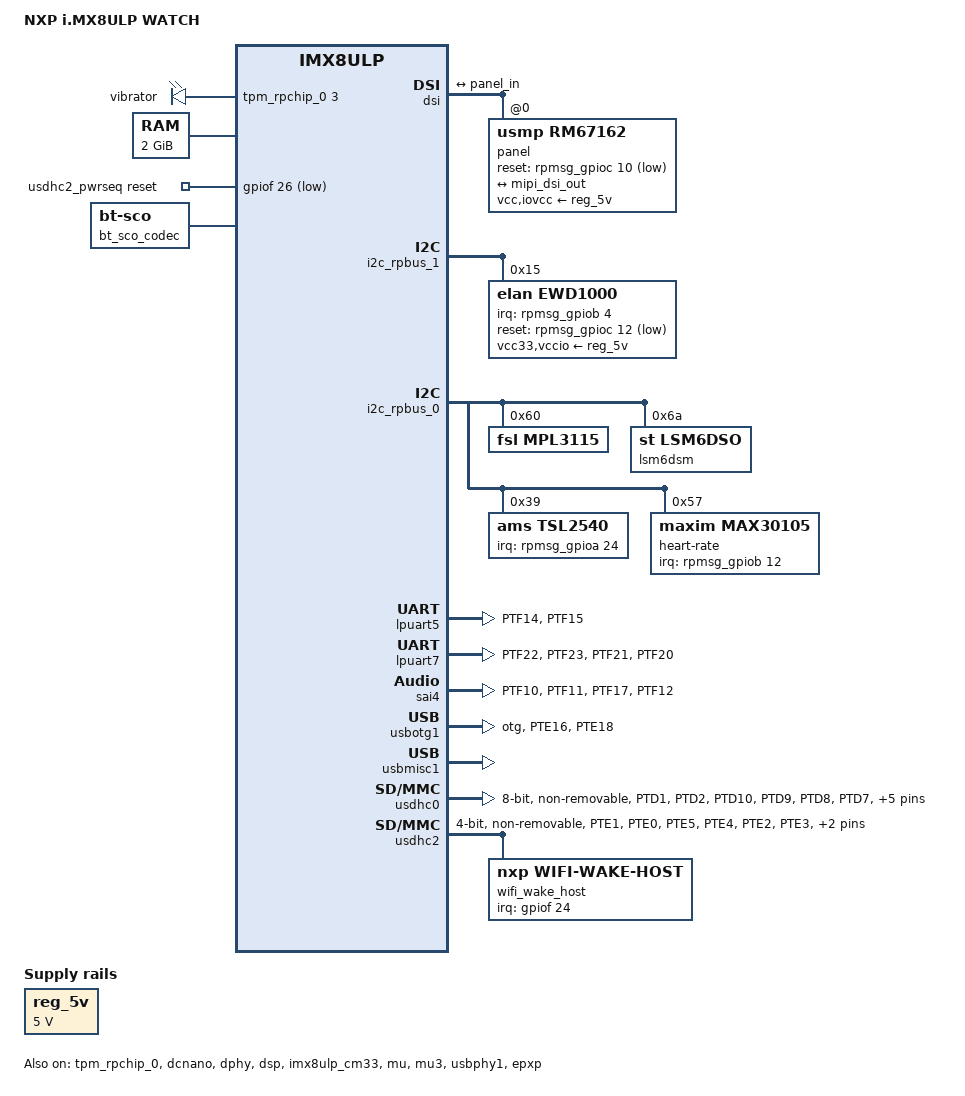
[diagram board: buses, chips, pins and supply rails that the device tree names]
// SPDX-License-Identifier: (GPL-2.0+ OR MIT)
/*
 * Copyright 2021 NXP
 */

/dts-v1/;

#include "imx8ulp.dtsi"
#include "imx8ulp-rpmsg.dtsi"
#include <dt-bindings/input/input.h>

/ {
	model = "NXP i.MX8ULP WATCH";
	compatible = "fsl,imx8ulp-watch", "fsl,imx8ulp";

	chosen {
		stdout-path = &lpuart5;
	};

	vibrator-controller {
		compatible = "pwm-leds";
		vibrator {
			/* vibrator */
			label = "vibrator";
			pwms = <&tpm_rpchip_0 3 50000 0>;
			max-brightness = <255>;
		};
	};

	memory@40000000 {
		device_type = "memory";
		reg = <0x0 0x80000000 0 0x80000000>;
	};

	rpmsg_keys: rpmsg-keys {
		compatible = "fsl,rpmsg-keys";

		volume-up {
			label = "VolumeUp";
			linux,code = <KEY_VOLUMEUP>;
			rpmsg-key,wakeup;
		};

		volume-down {
			label = "VolumeDown";
			linux,code = <KEY_VOLUMEDOWN>;
			rpmsg-key,wakeup;
		};

		power-on {
			label = "PowerOn";
			linux,code = <KEY_POWER>;
			rpmsg-key,wakeup;
		};
	};

	resmem:reserved-memory {
		#address-cells = <2>;
		#size-cells = <2>;
		ranges;

		linux,cma {
			compatible = "shared-dma-pool";
			reusable;
			size = <0 0x28000000>;
			linux,cma-default;
		};

		rsc_table: rsc_table@1fff8000{
			reg = <0 0x1fff8000 0 0x1000>;
			no-map;
		};

		dsp_reserved: dsp_reserved@8e000000 {
			reg = <0 0x8e000000 0 0x1000000>;
			no-map;
		};
		dsp_reserved_heap: dsp_reserved_heap {
			reg = <0 0x8f000000 0 0xef0000>;
			no-map;
		};
		dsp_vdev0vring0: vdev0vring0@8fef0000 {
			reg = <0 0x8fef0000 0 0x8000>;
			no-map;
		};
		dsp_vdev0vring1: vdev0vring1@8fef8000 {
			reg = <0 0x8fef8000 0 0x8000>;
			no-map;
		};
		dsp_vdev0buffer: vdev0buffer@8ff00000 {
			compatible = "shared-dma-pool";
			reg = <0 0x8ff00000 0 0x100000>;
			no-map;
		};

		vdev0vring0: vdev0vring0@aff00000 {
			reg = <0 0xaff00000 0 0x8000>;
			no-map;
		};

		vdev0vring1: vdev0vring1@aff08000 {
			reg = <0 0xaff08000 0 0x8000>;
			no-map;
		};

		vdev1vring0: vdev1vring0@aff10000 {
			reg = <0 0xaff10000 0 0x8000>;
			no-map;
		};

		vdev1vring1: vdev1vring1@aff18000 {
			reg = <0 0xaff18000 0 0x8000>;
			no-map;
		};

		vdevbuffer: vdevbuffer@a8400000 {
			compatible = "shared-dma-pool";
			reg = <0 0xa8400000 0 0x100000>;
			no-map;
		};

		audio_reserved: audio@0xa8500000 {
			compatible = "shared-dma-pool";
			no-map;
			reg = <0 0xa8500000 0 0x100000>;
		};

		m33_reserved: m33_noncacheable_section@a8600000 {
			no-map;
			reg = <0 0xa8600000 0 0x1000000>;
		};
	};

	reg_5v: regulator-5v {
		compatible = "regulator-fixed";
		regulator-name = "5V";
		regulator-min-microvolt = <5000000>;
		regulator-max-microvolt = <5000000>;
		regulator-always-on;
	};

	usdhc2_pwrseq: usdhc2_pwrseq {
		compatible = "mmc-pwrseq-simple";
		reset-gpios = <&gpiof 26 GPIO_ACTIVE_LOW>;
	};

	bt_sco_codec: bt_sco_codec {
		#sound-dai-cells = <1>;
		compatible = "linux,bt-sco";
	};

	sound-bt-sco {
		compatible = "simple-audio-card";
		simple-audio-card,name = "bt-sco-audio";
		simple-audio-card,format = "dsp_a";
		simple-audio-card,bitclock-inversion;
		simple-audio-card,frame-master = <&btcpu>;
		simple-audio-card,bitclock-master = <&btcpu>;

		btcpu: simple-audio-card,cpu {
			sound-dai = <&sai4>;
			dai-tdm-slot-num = <2>;
			dai-tdm-slot-width = <16>;
		};

		simple-audio-card,codec {
			sound-dai = <&bt_sco_codec 1>;
		};
	};

	rpmsg_gpioc: gpio@2 {
		compatible = "fsl,imx-rpmsg-gpio";
		port_idx = <2>;
		gpio-controller;
		#gpio-cells = <2>;
		#interrupt-cells = <2>;
		interrupt-controller;
		interrupt-parent = <&rpmsg_gpioc>;
		status = "okay";
	};
};

&tpm_rpchip_0 {
	status = "okay";
};

&clock_ext_ts {
	/* External ts clock is 50MHZ from PHY on EVK board. */
	clock-frequency = <50000000>;
};

&dcnano {
	status = "okay";
};

&dphy {
	status = "okay";
};

&dsi {
	status = "okay";
	panel@0 {
		compatible = "usmp,rm67162";
		reg = <0>;
		dsi-lanes = <1>;
		video-mode = <1>;
		reset-gpios = <&rpmsg_gpioc 10 GPIO_ACTIVE_LOW>;
		vcc-supply = <&reg_5v>;
		iovcc-supply = <&reg_5v>;

		port {
			panel_in: endpoint {
				remote-endpoint = <&mipi_dsi_out>;
			};
		};
	};

	ports {
		port@1 {
			reg = <1>;

			mipi_dsi_out: endpoint {
				remote-endpoint = <&panel_in>;
			};
		};
	};
};

&i2c_rpbus_1 {
	#address-cells = <1>;
	#size-cells = <0>;
	status = "okay";
	elan@15 {
		compatible = "elan,ewd1000";
		reg = <0x15>;
		interrupt-parent = <&rpmsg_gpiob>;
		interrupts = <4 IRQ_TYPE_EDGE_FALLING>;
		irq-gpios = <&rpmsg_gpiob 4 GPIO_ACTIVE_HIGH>;
		reset-gpios = <&rpmsg_gpioc 12 GPIO_ACTIVE_LOW>;
		vcc33-supply = <&reg_5v>;
		vccio-supply = <&reg_5v>;
		elan,non-buffer-mode;
		elan,num-fingers = <2>;
	};
};

&dsp {
	assigned-clocks = <&cgc2 IMX8ULP_CLK_HIFI_SEL>;
	assigned-clock-parents = <&cgc2 IMX8ULP_CLK_PLL4>;
	memory-region = <&dsp_vdev0buffer>, <&dsp_vdev0vring0>,
			<&dsp_vdev0vring1>, <&dsp_reserved>;
	status = "okay";
};

&i2c_rpbus_0 {
	#address-cells = <1>;
	#size-cells = <0>;
	status = "okay";

	mpl3115@60 {
		compatible = "fsl,mpl3115";
		reg = <0x60>;
	};

	lsm6dsm@6a {
		compatible = "st,lsm6dso";
		reg = <0x6a>;
	};

	tsl2540@39 {
		compatible = "ams,tsl2540";
		reg = <0x39>;
		interrupt-parent = <&rpmsg_gpioa>;
		interrupts = <24 IRQ_TYPE_EDGE_FALLING>;
	};

	heart-rate@57 {
		compatible = "maxim,max30105";// max30101 is almost the same as max30105
		reg = <0x57>;
		maxim,red-led-current-microamp = <7000>;
		maxim,green-led-current-microamp = <7000>;
		maxim,ir-led-current-microamp = <7000>;
		interrupt-parent = <&rpmsg_gpiob>;
		interrupts = <12 IRQ_TYPE_EDGE_FALLING>;
	};
};

&imx8ulp_cm33 {
	ipc-only;
	rsc-da=<0x1fff8000>;
	mbox-names = "tx", "rx", "rxdb";
	mboxes = <&mu 0 1
			&mu 1 1
			&mu 3 1>;
	memory-region = <&vdevbuffer>, <&vdev0vring0>, <&vdev0vring1>,
			<&vdev1vring0>, <&vdev1vring1>, <&rsc_table>;
	status = "okay";
};

&lpuart5 {
	/* console */
	pinctrl-names = "default", "sleep";
	pinctrl-0 = <&pinctrl_lpuart5>;
	pinctrl-1 = <&pinctrl_lpuart5>;
	status = "okay";
};

&lpuart7 {
	/* BT */
	pinctrl-names = "default", "sleep";
	pinctrl-0 = <&pinctrl_lpuart7>;
	pinctrl-1 = <&pinctrl_lpuart7>;
	status = "okay";
};

&mu {
	status = "okay";
};

&mu3 {
	status = "okay";
};

&sai4 {
	#sound-dai-cells = <0>;
	pinctrl-names = "default", "sleep";
	pinctrl-0 = <&pinctrl_sai4>;
	pinctrl-1 = <&pinctrl_sai4>;
	assigned-clocks = <&cgc1 IMX8ULP_CLK_SAI4_SEL>;
	assigned-clock-parents = <&cgc1 IMX8ULP_CLK_SPLL3_PFD1_DIV1>;
	fsl,dataline = <0 0x08 0x01>;
	status = "okay";
};

&usbotg1 {
	pinctrl-names = "default", "sleep";
	pinctrl-0 = <&pinctrl_otgid1>;
	pinctrl-1 = <&pinctrl_otgid1>;
	dr_mode = "otg";
	hnp-disable;
	srp-disable;
	adp-disable;
	over-current-active-low;
	status = "okay";
};

&usbphy1 {
	status = "okay";
};

&usbmisc1 {
	status = "okay";
};

&usdhc0 {
	pinctrl-names = "default", "state_100mhz", "state_200mhz", "sleep";
	pinctrl-0 = <&pinctrl_usdhc0>;
	pinctrl-1 = <&pinctrl_usdhc0>;
	pinctrl-2 = <&pinctrl_usdhc0>;
	pinctrl-3 = <&pinctrl_usdhc0>;
	non-removable;
	bus-width = <8>;
	status = "okay";
};

&usdhc2 {
	pinctrl-names = "default", "state_100mhz", "state_200mhz", "sleep";
	pinctrl-0 = <&pinctrl_usdhc2_pte>, <&pinctrl_usdhc2_ptf>;
	pinctrl-1 = <&pinctrl_usdhc2_pte>, <&pinctrl_usdhc2_ptf>;
	pinctrl-2 = <&pinctrl_usdhc2_pte>, <&pinctrl_usdhc2_ptf>;
	pinctrl-3 = <&pinctrl_usdhc2_pte>, <&pinctrl_usdhc2_ptf>;
	mmc-pwrseq = <&usdhc2_pwrseq>;
	max-frequency = <100000000>;
	bus-width = <4>;
	keep-power-in-suspend;
	non-removable;
	wakeup-source;
	fsl,sdio-async-interrupt-enabled;
	status = "okay";

	wifi_wake_host {
		compatible = "nxp,wifi-wake-host";
		interrupt-parent = <&gpiof>;
		interrupts = <24 IRQ_TYPE_LEVEL_LOW>;
		interrupt-names = "host-wake";
	};
};

&iomuxc1 {
	pinctrl_lpuart5: lpuart5grp {
		fsl,pins = <
			MX8ULP_PAD_PTF14__LPUART5_TX	0x3
			MX8ULP_PAD_PTF15__LPUART5_RX	0x3
		>;
	};

	pinctrl_lpuart7: lpuart7grp {
		fsl,pins = <
			MX8ULP_PAD_PTF22__LPUART7_TX	0x3
			MX8ULP_PAD_PTF23__LPUART7_RX	0x3
			MX8ULP_PAD_PTF21__LPUART7_RTS_B 0x3
			MX8ULP_PAD_PTF20__LPUART7_CTS_B 0x3
		>;
	};

	pinctrl_otgid1: usb1grp {
		fsl,pins = <
			MX8ULP_PAD_PTE16__USB0_ID	0x10003
			MX8ULP_PAD_PTE18__USB0_OC	0x10003
		>;
	};

	pinctrl_sai4: sai4grp {
		fsl,pins = <
			MX8ULP_PAD_PTF10__I2S4_RX_BCLK  0x43
			MX8ULP_PAD_PTF11__I2S4_RX_FS    0x43
			MX8ULP_PAD_PTF17__I2S4_TXD0     0x43
			MX8ULP_PAD_PTF12__I2S4_RXD0 	0x43
		>;
	};

	pinctrl_usdhc0: usdhc0grp {
		fsl,pins = <
			MX8ULP_PAD_PTD1__SDHC0_CMD	0x3
			MX8ULP_PAD_PTD2__SDHC0_CLK	0x10002
			MX8ULP_PAD_PTD10__SDHC0_D0	0x3
			MX8ULP_PAD_PTD9__SDHC0_D1	0x3
			MX8ULP_PAD_PTD8__SDHC0_D2	0x3
			MX8ULP_PAD_PTD7__SDHC0_D3	0x3
			MX8ULP_PAD_PTD6__SDHC0_D4	0x3
			MX8ULP_PAD_PTD5__SDHC0_D5	0x3
			MX8ULP_PAD_PTD4__SDHC0_D6	0x3
			MX8ULP_PAD_PTD3__SDHC0_D7	0x3
			MX8ULP_PAD_PTD11__SDHC0_DQS	0x10002
		>;
	};

	pinctrl_usdhc2_pte: usdhc2ptegrp {
		fsl,pins = <
			MX8ULP_PAD_PTE1__SDHC2_D0	0x3
			MX8ULP_PAD_PTE0__SDHC2_D1	0x3
			MX8ULP_PAD_PTE5__SDHC2_D2	0x3
			MX8ULP_PAD_PTE4__SDHC2_D3	0x3
			MX8ULP_PAD_PTE2__SDHC2_CLK	0x10002
			MX8ULP_PAD_PTE3__SDHC2_CMD	0x3
		>;
	};

	pinctrl_usdhc2_ptf: usdhc2ptfgrp {
		fsl,pins = <
			MX8ULP_PAD_PTF24__PTF24		0x10003
			MX8ULP_PAD_PTF26__PTF26		0x3
		>;
	};

};

&epxp {
	status = "okay";
};

#include "imx8ulp-android.dtsi"
